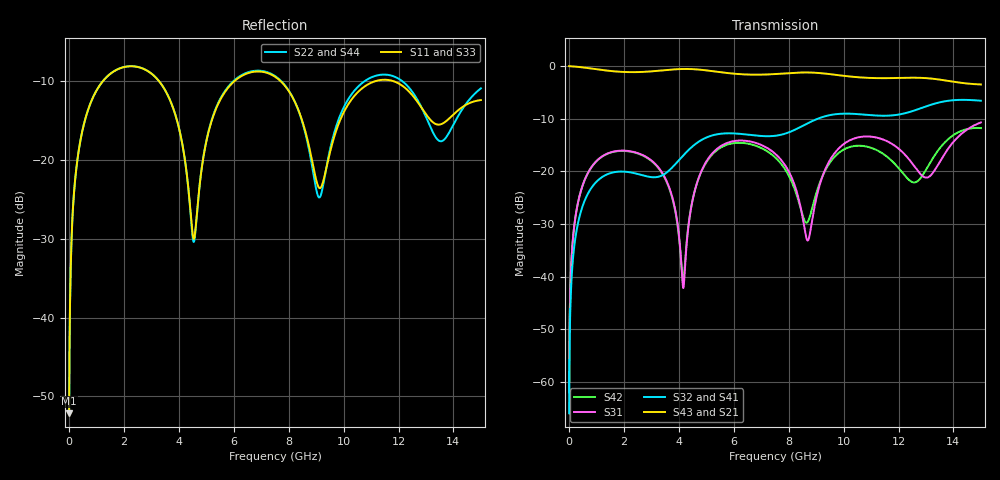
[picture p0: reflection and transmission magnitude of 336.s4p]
! Created with skrf 1.8.0 (http://scikit-rf.org).
# GHz S RI R 50.0
!freq ReS11 ImS11 ReS12 ImS12 ReS13 ImS13
! ReS14 ImS14
! ReS21 ImS21 ReS22 ImS22 ReS23 ImS23
! ReS24 ImS24
! ReS31 ImS31 ReS32 ImS32 ReS33 ImS33
! ReS34 ImS34
! ReS41 ImS41 ReS42 ImS42 ReS43 ImS43
! ReS44 ImS44
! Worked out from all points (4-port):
!   2499 points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, 5 MHz to 15 GHz, reference 50 ohm
!   strongest paths, dB at 5 MHz, 3.476 GHz, 7.19 GHz, 11.1 GHz, 15 GHz:
!     S43: 0.0, -0.8, -1.6, -2.3, -3.5
!     S21: 0.0, -0.8, -1.6, -2.3, -3.5
!     S32: -65.9, -20.5, -13.3, -9.4, -6.6
!     S41: -65.9, -20.5, -13.4, -9.4, -6.6
!     S31: -62.0, -21.0, -15.5, -13.5, -10.7
!     S42: -62.0, -21.1, -16.1, -15.7, -11.8
!   lowest |S11| = -52.1 dB at 5 MHz (marker M1), VSWR 1.00, Z = 50.2 + j0.15 ohm
!   |S11| at or under -10 dB: 3.273 GHz to 6.031 GHz (2.758 GHz wide, 59.3 % of centre); 7.701 GHz to 11.18 GHz (3.477 GHz wide, 36.8 % of centre); 11.79 GHz to end of sweep (the widest 3 of 4)
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0.005  0.00197 0.0015  0.998 -0.00383  0.0001 0.00079  -9.74e-05 -0.000495
       0.998 -0.00383  0.00197 0.0015  -9.74e-05 -0.000495  0.0001 0.00079
       0.0001 0.00079  -9.74e-05 -0.000495  0.00197 0.0015  0.998 -0.00383
       -9.74e-05 -0.000495  0.0001 0.00079  0.998 -0.00383  0.00197 0.0015
1.269279  0.2656 0.1795  0.5593 -0.7224  0.1276 0.0623  -0.09 -0.00802
          0.5593 -0.7224  0.2661 0.1792  -0.0901 -0.0079  0.1261 0.0643
          0.1276 0.0623  -0.0901 -0.0079  0.2656 0.1796  0.5592 -0.7224
          -0.09 -0.00802  0.1261 0.0643  0.5592 -0.7224  0.2662 0.1792
4.164235  0.057 -0.101  -0.8815 -0.3221  -0.00778 -0.000611  -0.0456 0.1345
          -0.8815 -0.3221  0.0554 -0.1015  -0.0439 0.1351  -0.00886 -0.000142
          -0.00778 -0.000611  -0.0439 0.1351  0.0573 -0.1016  -0.8814 -0.3222
          -0.0456 0.1345  -0.00886 -0.000142  -0.8814 -0.3222  0.0556 -0.1022
5.47103  0.1724 0.1574  -0.7331 0.4829  0.1443 0.0895  0.1584 0.1614
         -0.7331 0.4829  0.1749 0.159  0.1607 0.1599  0.133 0.0973
         0.1443 0.0895  0.1607 0.1599  0.1708 0.1566  -0.7333 0.483
         0.1584 0.1614  0.133 0.0973  -0.7333 0.483  0.1752 0.1581
9.172572  0.0667 0.00387  0.8505 0.1015  0.0187 0.0785  0.0319 -0.3227
          0.8505 0.1015  0.059 0.0102  0.0238 -0.3235  -0.00452 0.0826
          0.0187 0.0785  0.0238 -0.3235  0.0672 0.0074  0.8507 0.099
          0.0319 -0.3227  -0.00452 0.0826  0.8507 0.099  0.0575 0.0147
11.92997  0.3066 -0.0434  -0.0826 -0.768  0.063 -0.1582  -0.3356 0.067
          -0.0826 -0.768  0.3247 -0.0707  -0.3344 0.0803  0.0525 -0.1001
          0.063 -0.1582  -0.3344 0.0803  0.3105 -0.0369  -0.084 -0.7662
          -0.3356 0.067  0.0525 -0.1001  -0.084 -0.7662  0.3286 -0.0781
15  0.2392 -0.00575  -0.5626 0.3653  0.2829 0.07  0.3225 0.338
    -0.5626 0.3653  0.278 0.0578  0.335 0.3278  0.1973 0.1656
    0.2829 0.07  0.335 0.3278  0.2414 -0.00728  -0.559 0.3677
    0.3225 0.338  0.1973 0.1656  -0.559 0.3677  0.2827 0.0676
